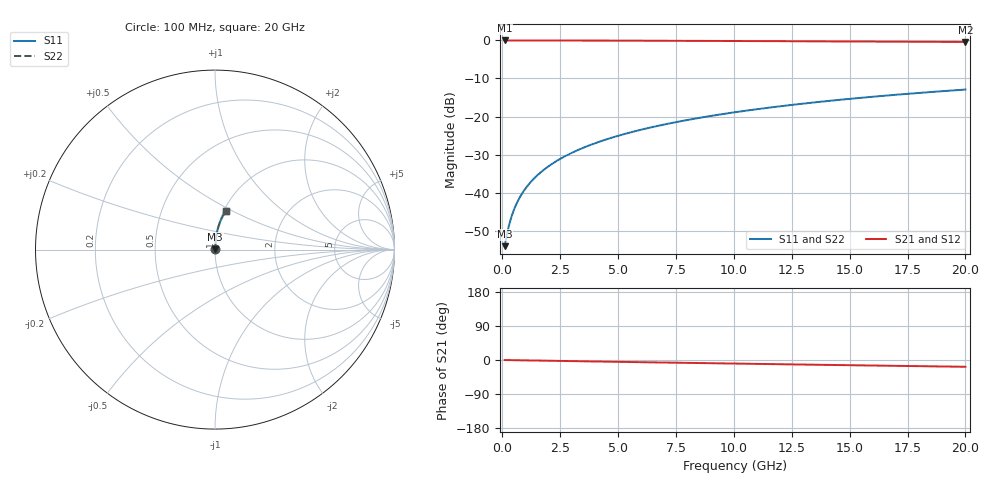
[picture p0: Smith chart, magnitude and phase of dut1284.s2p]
! Touchstone file exported from HFSS 2024.1.0
!  File:  C:/UserFiles/LocalFiles/RDL_TSV_Batchsim/temp_RDL_bottom_1284_1780246790.aedt
!  Generated:  01:02:18 AM Jun  1, 2026
!  Design:  RDL_bottom
!  Project:  temp_RDL_bottom_1284_1780246790
!  Setup:  Setup1
!  Solution:  Sweep
! Variables:
!  dtsv = 10.80580581um
!  hbump = 3um
!  htsv = 79.38um
!  ldown = 195.13um
!  lrdl = 100um
!  p = 40
!  p1 = 49.14um
!  rhole = 1um
!  t = 450um
!  tdown = 3.3um
!  trdl = 3.915915916um
!  wdown = 14.73um
!  wrdl = 20um
# GHz S MA R 50.000000
! Terminal data exported
! Port[1] = RDL1_T1
! Port[2] = RDL1_T2
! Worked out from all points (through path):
!   200 points, 100 MHz to 20 GHz, reference 50 ohm
!   highest |S21| = -0.01 dB at 100 MHz (marker M1); lowest = -0.4 dB at 20 GHz (marker M2)
!   group delay of S21, straight-line fit = 2.48 ps
!   lowest |S11| = -54.1 dB at 100 MHz (marker M3), VSWR 1.00, Z = 50.2 + j0.116 ohm
!   |S11| at or under -10 dB: start of sweep to end of sweep
!   |S22| runs from -54.1 to -12.9 dB; largest |S21 - S12| = 4.5e-15
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0.1  0.00198 35.7  0.9984 -0.1  0.9984 -0.1  0.00198 35.7
! Gamma 0 0 0 0
! Port Impedance 50 0 50 0
0.2  0.002825 54.6  0.9984 -0.2  0.9984 -0.2  0.002825 54.6
0.3  0.003822 64.0  0.9983 -0.3  0.9983 -0.3  0.003822 64.0
0.4  0.004866 69.3  0.9983 -0.4  0.9983 -0.4  0.004866 69.3
0.5  0.005927 72.7  0.9982 -0.5  0.9982 -0.5  0.005927 72.7
0.6  0.006995 75.1  0.9981 -0.6  0.9981 -0.6  0.006995 75.1
0.8  0.009143 78.2  0.998 -0.8  0.998 -0.8  0.009143 78.2
1.1  0.01239 80.9  0.9979 -1.1  0.9979 -1.1  0.01239 80.9
1.5  0.01675 82.9  0.9976 -1.5  0.9976 -1.5  0.01675 82.9
1.8  0.02004 83.8  0.9974 -1.8  0.9974 -1.8  0.02004 83.8
2.1  0.02334 84.4  0.9971 -2.1  0.9971 -2.1  0.02334 84.4
2.7  0.02998 85.1  0.9965 -2.7  0.9965 -2.7  0.02998 85.1
3.5  0.0389 85.5  0.9955 -3.4  0.9955 -3.4  0.0389 85.5
4.2  0.04675 85.5  0.9945 -4.1  0.9945 -4.1  0.04675 85.5
5  0.05579 85.4  0.9931 -4.9  0.9931 -4.9  0.05579 85.4
5.9  0.06603 85.1  0.9914 -5.7  0.9914 -5.7  0.06603 85.1
6.8  0.07633 84.7  0.9895 -6.5  0.9895 -6.5  0.07633 84.7
8.3  0.09361 83.8  0.9862 -7.9  0.9862 -7.9  0.09361 83.8
10.1  0.1144 82.5  0.9818 -9.5  0.9818 -9.5  0.1144 82.5
13.4  0.1524 79.9  0.9732 -12.4  0.9732 -12.4  0.1524 79.9
16.7  0.1898 77.1  0.9639 -15.2  0.9639 -15.2  0.1898 77.1
20  0.2262 74.3  0.9539 -17.9  0.9539 -17.9  0.2262 74.3
